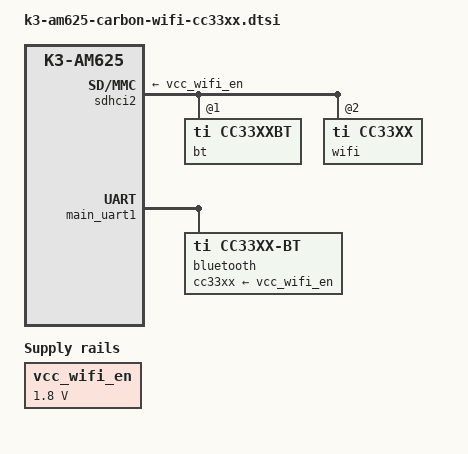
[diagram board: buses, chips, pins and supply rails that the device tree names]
// SPDX-License-Identifier: (GPL-2.0+ OR MIT)
/*
 * Copyright 2024 Ezurio
 */

#include "k3-am625-carbon-wifi.dtsi"

/ {
	/* Regulator needed to sync Wi-Fi and Bluetooth on power transitions */
	vcc_wifi_en: regulator-wifi-en {
		compatible = "regulator-fixed";
		regulator-name = "vcc_wifi_en";
		regulator-min-microvolt = <1800000>;
		regulator-max-microvolt = <1800000>;
	};
};

&wifi_pwrseq {
	post-power-on-delay-ms = <10>;
	power-off-delay-us = <80>;
};

&sdhci2 { /* SDIO_B  WIFI */
	vmmc-supply = <&vcc_wifi_en>;

	cap-power-off-card;

	bt@1 {
		reg = <1>;
		compatible = "ti,cc33xxbt";
	};

	wifi@2 {
		reg = <2>;
		compatible = "ti,cc33xx";
	};
};

&main_uart1 {
	bluetooth {
		compatible = "ti,cc33xx-bt";
		cc33xx-supply = <&vcc_wifi_en>;
		max-speed = <115200>;
	};
};

&wifi_wakeup {
	wifi-wake-up {
		gpios = <&main_gpio0 16 GPIO_ACTIVE_HIGH>;
	};

	bt-wake-up {
		gpios = <&main_gpio0 42 GPIO_ACTIVE_HIGH>;
	};
};
